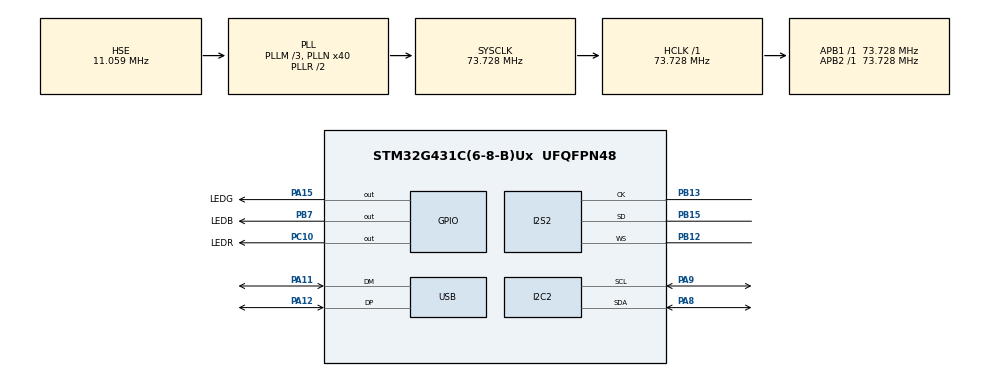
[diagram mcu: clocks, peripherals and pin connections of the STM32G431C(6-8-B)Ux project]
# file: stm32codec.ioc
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Dma.Request0=SPI2_TX
Dma.SPI2_TX.0.Direction=DMA_MEMORY_TO_PERIPH
Dma.SPI2_TX.0.EventEnable=DISABLE
Dma.SPI2_TX.0.Instance=DMA1_Channel1
Dma.SPI2_TX.0.MemDataAlignment=DMA_MDATAALIGN_HALFWORD
Dma.SPI2_TX.0.MemInc=DMA_MINC_ENABLE
Dma.SPI2_TX.0.Mode=DMA_CIRCULAR
Dma.SPI2_TX.0.PeriphDataAlignment=DMA_PDATAALIGN_HALFWORD
Dma.SPI2_TX.0.PeriphInc=DMA_PINC_DISABLE
Dma.SPI2_TX.0.Polarity=HAL_DMAMUX_REQ_GEN_RISING
Dma.SPI2_TX.0.Priority=DMA_PRIORITY_VERY_HIGH
Dma.SPI2_TX.0.RequestNumber=1
Dma.SPI2_TX.0.SignalID=NONE
Dma.SPI2_TX.0.SyncEnable=DISABLE
Dma.SPI2_TX.0.SyncPolarity=HAL_DMAMUX_SYNC_NO_EVENT
Dma.SPI2_TX.0.SyncRequestNumber=1
Dma.SPI2_TX.0.SyncSignalID=NONE
I2C2.Timing=0x2081608B
I2S2.AudioFreq=I2S_AUDIOFREQ_48K
I2S2.ErrorAudioFreq=0.0 %
I2S2.FullDuplexMode=I2S_FULLDUPLEXMODE_DISABLE
I2S2.Instance=SPI$Index
I2S2.RealAudioFreq=48.0 KHz
I2S2.VirtualMode=I2S_MODE_MASTER
Mcu.Family=STM32G4
Mcu.Name=STM32G431C(6-8-B)Ux
Mcu.Package=UFQFPN48
NVIC.DMA1_Channel1_IRQn=true\:0\:0\:false\:false\:true\:false\:true\:true
NVIC.PriorityGroup=NVIC_PRIORITYGROUP_4
NVIC.SPI2_IRQn=true\:0\:0\:false\:false\:true\:true\:true\:true
NVIC.USB_LP_IRQn=true\:0\:0\:false\:false\:true\:false\:true\:true
PA11.Mode=Device
PA11.Signal=USB_DM
PA12.Mode=Device
PA12.Signal=USB_DP
PA13.Mode=Serial_Wire
PA13.Signal=SYS_JTMS-SWDIO
PA14.Mode=Serial_Wire
PA14.Signal=SYS_JTCK-SWCLK
PA15.GPIO_Label=LEDG
PA15.PinState=GPIO_PIN_SET
PA15.Signal=GPIO_Output
PA8.Mode=I2C
PA8.Signal=I2C2_SDA
PA9.Mode=I2C
PA9.Signal=I2C2_SCL
PB12.Mode=Half_Duplex_Master
PB12.Signal=I2S2_WS
PB13.Mode=Half_Duplex_Master
PB13.Signal=I2S2_CK
PB15.Mode=Half_Duplex_Master
PB15.Signal=I2S2_SD
PB7.GPIO_Label=LEDB
PB7.PinState=GPIO_PIN_SET
PB7.Signal=GPIO_Output
PC10.GPIO_Label=LEDR
PC10.PinState=GPIO_PIN_SET
PC10.Signal=GPIO_Output
PF0-OSC_IN.Mode=HSE-External-Oscillator
PF0-OSC_IN.Signal=RCC_OSC_IN
PF1-OSC_OUT.Mode=HSE-External-Oscillator
PF1-OSC_OUT.Signal=RCC_OSC_OUT
ProjectManager.HeapSize=0x200
ProjectManager.StackSize=0x400
ProjectManager.TargetToolchain=STM32CubeIDE
RCC.ADC12Freq_Value=73728000
RCC.AHBFreq_Value=73728000
RCC.APB1Freq_Value=73728000
RCC.APB1TimFreq_Value=73728000
RCC.APB2Freq_Value=73728000
RCC.APB2TimFreq_Value=73728000
RCC.CK48CLockSelection=RCC_USBCLKSOURCE_HSI48
RCC.CortexFreq_Value=73728000
RCC.EXTERNAL_CLOCK_VALUE=12288000
RCC.HCLKFreq_Value=73728000
RCC.HSE_VALUE=11059200
RCC.HSI48_VALUE=48000000
RCC.HSI_VALUE=16000000
RCC.I2SCLockSelection=RCC_I2SCLKSOURCE_PLL
RCC.LSE_VALUE=32768
RCC.PLLM=RCC_PLLM_DIV3
RCC.PLLN=40
RCC.PLLQ=RCC_PLLQ_DIV6
RCC.PLLSourceVirtual=RCC_PLLSOURCE_HSE
RCC.SYSCLKFreq_VALUE=73728000
RCC.SYSCLKSource=RCC_SYSCLKSOURCE_PLLCLK
RCC.USBFreq_Value=48000000
RCC.VCOOutputFreq_Value=147456000
USB_DEVICE.CLASS_NAME_FS=AUDIO
USB_DEVICE.USBD_AUDIO_FREQ=48000
USB_DEVICE.VirtualMode=Audio
USB_DEVICE.VirtualModeFS=Audio_FS
VP_SYS_VS_DBSignals.Mode=DisableDeadBatterySignals
VP_USB_DEVICE_VS_USB_DEVICE_AUDIO_FS.Mode=AUDIO_FS
board=custom

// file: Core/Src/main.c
/* USER CODE BEGIN Header */
/**
  ******************************************************************************
  * @file           : main.c
  * @brief          : Main program body
  ******************************************************************************
  * @attention
  *
  * Copyright (c) 2025 STMicroelectronics.
  * All rights reserved.
  *
  * This software is licensed under terms that can be found in the LICENSE file
  * in the root directory of this software component.
  * If no LICENSE file comes with this software, it is provided AS-IS.
  *
  ******************************************************************************
  */
/* USER CODE END Header */
#include "main.h"
#include "usb_device.h"
#include "tac5112.h"
#include "math.h"

I2C_HandleTypeDef hi2c2;

I2S_HandleTypeDef hi2s2;
DMA_HandleTypeDef hdma_spi2_tx;

/* USER CODE BEGIN PV */
#define SIN_FREQ 1000
#define SAMPLING_RATE 48000
#define BUFFER_LENGHT SAMPLING_RATE / SIN_FREQ
int16_t buffer_audio[2 * BUFFER_LENGHT];
/* USER CODE END PV */

void SystemClock_Config(void);
static void MX_GPIO_Init(void);
static void MX_DMA_Init(void);
static void MX_I2C2_Init(void);
static void MX_I2S2_Init(void);

/* USER CODE BEGIN 0 */
void TAC5112_Debug_ShowByte(uint8_t value)
  {

      HAL_GPIO_WritePin(GPIOA, LEDG_Pin, 0);
      HAL_Delay(1000);
      HAL_GPIO_WritePin(GPIOA, LEDG_Pin, 1);
      HAL_Delay(300);

      for(int i = 7; i >= 0; i--)
      {
    	  HAL_GPIO_WritePin(GPIOA, LEDG_Pin, 1);
    	  HAL_GPIO_WritePin(GPIOB, LEDB_Pin, 1);
    	  HAL_GPIO_WritePin(GPIOC, LEDR_Pin, 1);

    	  if(value & (1 << i))
    	  {
    		  HAL_GPIO_WritePin(GPIOB, LEDB_Pin, 0);
    		  HAL_Delay(400);
    		  HAL_GPIO_WritePin(GPIOB, LEDB_Pin, 1);
    	  }
    	  else
    	  {
    		  HAL_GPIO_WritePin(GPIOC, LEDR_Pin, 0);
    		  HAL_Delay(400);
    		  HAL_GPIO_WritePin(GPIOC, LEDR_Pin, 1);
    	  }
    	  HAL_Delay(400);
      }

      HAL_Delay(1500);
  }
/* USER CODE END 0 */

int main(void)
{

  /* MCU Configuration--------------------------------------------------------*/

  /* Reset of all peripherals, Initializes the Flash interface and the Systick. */
  HAL_Init();

  /* Configure the system clock */
  SystemClock_Config();

  /* Initialize all configured peripherals */
  MX_GPIO_Init();
  MX_DMA_Init();
  MX_I2C2_Init();
  MX_I2S2_Init();
  //MX_USB_Device_Init();
  /* USER CODE BEGIN 2 */
  TAC5112_init();

  for(int i = 0; i < BUFFER_LENGHT; i++)
  {
	  buffer_audio[2 * i] = 10000 * sin(2 * 3.14 * SIN_FREQ * i / SAMPLING_RATE);
	  buffer_audio[2 * i + 1] = 10000 * sin(2 * 3.14 * SIN_FREQ * i / SAMPLING_RATE);
  }
  TAC5112_play(buffer_audio, 2 * BUFFER_LENGHT);
  /* USER CODE END 2 */

  /* Infinite loop */
  /* USER CODE BEGIN WHILE */
  while (1)
  {
	  uint8_t sts0 = 0, sts1 = 0, clk_sts0 = 0, clk_sts2 = 0, err_sts0 = 0, err_sts1 = 0;

	  if (TAC5112_Read_Sts(&sts0, &sts1, &clk_sts0, &clk_sts2, &err_sts0, &err_sts1) == HAL_OK)
	  {
	      TAC5112_Debug_ShowByte(clk_sts0);
	  }
	  else
	  {
	      HAL_GPIO_TogglePin(GPIOC, LEDR_Pin);
	      HAL_Delay(100);
	  }
    /* USER CODE END WHILE */

  }
}

void SystemClock_Config(void)
{
  RCC_OscInitTypeDef RCC_OscInitStruct = {0};
  RCC_ClkInitTypeDef RCC_ClkInitStruct = {0};

  /** Configure the main internal regulator output voltage
  */
  HAL_PWREx_ControlVoltageScaling(PWR_REGULATOR_VOLTAGE_SCALE1);

  /** Initializes the RCC Oscillators according to the specified parameters
  * in the RCC_OscInitTypeDef structure.
  */
  RCC_OscInitStruct.OscillatorType = RCC_OSCILLATORTYPE_HSI48|RCC_OSCILLATORTYPE_HSE;
  RCC_OscInitStruct.HSEState = RCC_HSE_ON;
  RCC_OscInitStruct.HSI48State = RCC_HSI48_ON;
  RCC_OscInitStruct.PLL.PLLState = RCC_PLL_ON;
  RCC_OscInitStruct.PLL.PLLSource = RCC_PLLSOURCE_HSE;
  RCC_OscInitStruct.PLL.PLLM = RCC_PLLM_DIV3;
  RCC_OscInitStruct.PLL.PLLN = 40;
  RCC_OscInitStruct.PLL.PLLP = RCC_PLLP_DIV2;
  RCC_OscInitStruct.PLL.PLLQ = RCC_PLLQ_DIV6;
  RCC_OscInitStruct.PLL.PLLR = RCC_PLLR_DIV2;
  if (HAL_RCC_OscConfig(&RCC_OscInitStruct) != HAL_OK)
  {
    Error_Handler();
  }

  /** Initializes the CPU, AHB and APB buses clocks
  */
  RCC_ClkInitStruct.ClockType = RCC_CLOCKTYPE_HCLK|RCC_CLOCKTYPE_SYSCLK
                              |RCC_CLOCKTYPE_PCLK1|RCC_CLOCKTYPE_PCLK2;
  RCC_ClkInitStruct.SYSCLKSource = RCC_SYSCLKSOURCE_PLLCLK;
  RCC_ClkInitStruct.AHBCLKDivider = RCC_SYSCLK_DIV1;
  RCC_ClkInitStruct.APB1CLKDivider = RCC_HCLK_DIV1;
  RCC_ClkInitStruct.APB2CLKDivider = RCC_HCLK_DIV1;

  if (HAL_RCC_ClockConfig(&RCC_ClkInitStruct, FLASH_LATENCY_2) != HAL_OK)
  {
    Error_Handler();
  }
}

static void MX_I2C2_Init(void)
{

  hi2c2.Instance = I2C2;
  hi2c2.Init.Timing = 0x2081608B;
  hi2c2.Init.OwnAddress1 = 0;
  hi2c2.Init.AddressingMode = I2C_ADDRESSINGMODE_7BIT;
  hi2c2.Init.DualAddressMode = I2C_DUALADDRESS_DISABLE;
  hi2c2.Init.OwnAddress2 = 0;
  hi2c2.Init.OwnAddress2Masks = I2C_OA2_NOMASK;
  hi2c2.Init.GeneralCallMode = I2C_GENERALCALL_DISABLE;
  hi2c2.Init.NoStretchMode = I2C_NOSTRETCH_DISABLE;
  if (HAL_I2C_Init(&hi2c2) != HAL_OK)
  {
    Error_Handler();
  }

  /** Configure Analogue filter
  */
  if (HAL_I2CEx_ConfigAnalogFilter(&hi2c2, I2C_ANALOGFILTER_ENABLE) != HAL_OK)
  {
    Error_Handler();
  }

  /** Configure Digital filter
  */
  if (HAL_I2CEx_ConfigDigitalFilter(&hi2c2, 0) != HAL_OK)
  {
    Error_Handler();
  }

}

static void MX_I2S2_Init(void)
{

  hi2s2.Instance = SPI2;
  hi2s2.Init.Mode = I2S_MODE_MASTER_TX;
  hi2s2.Init.Standard = I2S_STANDARD_PHILIPS;
  hi2s2.Init.DataFormat = I2S_DATAFORMAT_16B;
  hi2s2.Init.MCLKOutput = I2S_MCLKOUTPUT_DISABLE;
  hi2s2.Init.AudioFreq = I2S_AUDIOFREQ_48K;
  hi2s2.Init.CPOL = I2S_CPOL_LOW;
  if (HAL_I2S_Init(&hi2s2) != HAL_OK)
  {
    Error_Handler();
  }

}

static void MX_DMA_Init(void)
{

  /* DMA controller clock enable */
  __HAL_RCC_DMAMUX1_CLK_ENABLE();
  __HAL_RCC_DMA1_CLK_ENABLE();

  /* DMA interrupt init */
  /* DMA1_Channel1_IRQn interrupt configuration */
  HAL_NVIC_SetPriority(DMA1_Channel1_IRQn, 0, 0);
  HAL_NVIC_EnableIRQ(DMA1_Channel1_IRQn);

}

static void MX_GPIO_Init(void)
{
  GPIO_InitTypeDef GPIO_InitStruct = {0};

  /* GPIO Ports Clock Enable */
  __HAL_RCC_GPIOF_CLK_ENABLE();
  __HAL_RCC_GPIOB_CLK_ENABLE();
  __HAL_RCC_GPIOA_CLK_ENABLE();
  __HAL_RCC_GPIOC_CLK_ENABLE();

  /*Configure GPIO pin Output Level */
  HAL_GPIO_WritePin(LEDG_GPIO_Port, LEDG_Pin, GPIO_PIN_SET);

  /*Configure GPIO pin Output Level */
  HAL_GPIO_WritePin(LEDR_GPIO_Port, LEDR_Pin, GPIO_PIN_SET);

  /*Configure GPIO pin Output Level */
  HAL_GPIO_WritePin(LEDB_GPIO_Port, LEDB_Pin, GPIO_PIN_SET);

  /*Configure GPIO pin : LEDG_Pin */
  GPIO_InitStruct.Pin = LEDG_Pin;
  GPIO_InitStruct.Mode = GPIO_MODE_OUTPUT_PP;
  GPIO_InitStruct.Pull = GPIO_NOPULL;
  GPIO_InitStruct.Speed = GPIO_SPEED_FREQ_LOW;
  HAL_GPIO_Init(LEDG_GPIO_Port, &GPIO_InitStruct);

  /*Configure GPIO pin : LEDR_Pin */
  GPIO_InitStruct.Pin = LEDR_Pin;
  GPIO_InitStruct.Mode = GPIO_MODE_OUTPUT_PP;
  GPIO_InitStruct.Pull = GPIO_NOPULL;
  GPIO_InitStruct.Speed = GPIO_SPEED_FREQ_LOW;
  HAL_GPIO_Init(LEDR_GPIO_Port, &GPIO_InitStruct);

  /*Configure GPIO pin : LEDB_Pin */
  GPIO_InitStruct.Pin = LEDB_Pin;
  GPIO_InitStruct.Mode = GPIO_MODE_OUTPUT_PP;
  GPIO_InitStruct.Pull = GPIO_NOPULL;
  GPIO_InitStruct.Speed = GPIO_SPEED_FREQ_LOW;
  HAL_GPIO_Init(LEDB_GPIO_Port, &GPIO_InitStruct);

}

void Error_Handler(void)
{
  __disable_irq();
  while (1)
  {
  }
}
